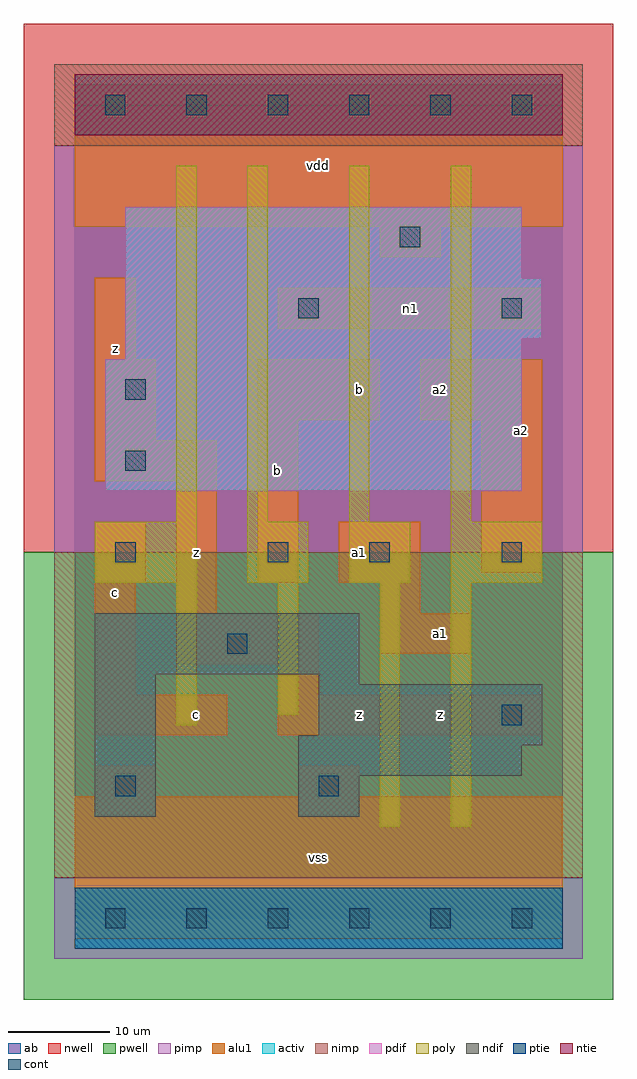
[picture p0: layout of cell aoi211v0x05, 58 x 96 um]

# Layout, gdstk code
import gdstk
lib = gdstk.Library(unit=1e-6, precision=1e-09)
def R(c, l, rs):  # rectangles x0, y0, x1, y1
    for r in rs: c.add(gdstk.rectangle(r[:2], r[2:], *l))
def A(c, l, x, y, w, h, nx, ny, dx, dy):  # array of equal rectangles
    R(c, l, [(x+i*dx, y+j*dy, x+i*dx+w, y+j*dy+h) for i in range(nx) for j in range(ny)])
ndif = (3, 0)
pdif = (4, 0)
ntie = (5, 0)
ptie = (6, 0)
cont = (25, 0)
pwell = (41, 0)
nwell = (42, 0)
activ = (43, 0)
pimp = (44, 0)
nimp = (45, 0)
poly = (46, 0)
alu1 = (49, 0)
ab = (63, 0)

aoi211v0x05 = lib.new_cell('aoi211v0x05')
R(aoi211v0x05, ndif, [(2,10,8,24), (22,10,28,14), (22,14,44,17), (22,17,46,18), (24,18,46,23), (24,23,28,24), (2,24,28,30)])
R(aoi211v0x05, pdif, [(3,42,44,55), (5,55,44,57), (5,57,46,63), (5,63,44,70)])
R(aoi211v0x05, ntie, [(0,77,48,83)])
R(aoi211v0x05, ptie, [(0,-3,48,3)])
A(aoi211v0x05, cont, 3, -1, 2, 2, 6, 2, 8, 80)
R(aoi211v0x05, cont, [(4,12,6,14), (24,12,26,14), (42,19,44,21), (15,26,17,28), (4,35,6,37), (19,35,21,37), (29,35,31,37), (42,35,44,37), (5,44,7,46), (5,51,7,53), (22,59,24,61), (42,59,44,61), (32,66,34,68)])
R(aoi211v0x05, pwell, [(-5,-8,53,36)])
R(aoi211v0x05, nwell, [(-5,36,53,88)])
R(aoi211v0x05, activ, [(0,-3,48,3), (2,10,8,24), (22,10,28,14), (22,14,44,17), (22,17,46,18), (24,18,46,23), (24,23,28,24), (2,24,28,30), (3,42,44,55), (5,55,44,57), (5,57,46,63), (5,63,44,70), (0,77,48,83)])
R(aoi211v0x05, pimp, [(-2,-4,50,4), (-2,36,50,76)])
R(aoi211v0x05, nimp, [(-2,4,50,36), (-2,76,50,84)])
A(aoi211v0x05, poly, 17, 39, 2, 35, 3, 1, 10, 0)
R(aoi211v0x05, poly, [(30,9,32,33), (37,9,39,33), (10,19,12,33), (20,20,22,33), (2,33,12,39), (17,33,23,39), (27,33,33,39), (37,33,46,39), (10,39,12,74)])
R(aoi211v0x05, alu1, [(0,-2,48,12), (2,12,8,15), (22,12,28,15), (2,18,15,22), (20,18,46,22), (2,22,6,33), (20,22,24,25), (10,25,24,30), (30,26,39,30), (10,30,14,43), (30,30,34,33), (2,33,7,39), (18,33,22,49), (26,33,34,39), (40,34,46,49), (2,43,14,47), (2,47,8,55), (18,49,30,55), (34,49,46,55), (2,55,6,63), (20,58,46,62), (30,65,36,68), (0,68,48,82)])
R(aoi211v0x05, ab, [(0,0,48,80)])
aoi211v0x05.add(gdstk.Label('n1', (33,60), layer=49, texttype=0))
aoi211v0x05.add(gdstk.Label('c', (4,32), layer=49, texttype=0))
aoi211v0x05.add(gdstk.Label('z', (4,56), layer=49, texttype=0))
aoi211v0x05.add(gdstk.Label('c', (12,20), layer=49, texttype=0))
aoi211v0x05.add(gdstk.Label('z', (12,36), layer=49, texttype=0))
aoi211v0x05.add(gdstk.Label('b', (20,44), layer=49, texttype=0))
aoi211v0x05.add(gdstk.Label('vss', (24,6), layer=49, texttype=0))
aoi211v0x05.add(gdstk.Label('z', (28,20), layer=49, texttype=0))
aoi211v0x05.add(gdstk.Label('a1', (28,36), layer=49, texttype=0))
aoi211v0x05.add(gdstk.Label('b', (28,52), layer=49, texttype=0))
aoi211v0x05.add(gdstk.Label('vdd', (24,74), layer=49, texttype=0))
aoi211v0x05.add(gdstk.Label('z', (36,20), layer=49, texttype=0))
aoi211v0x05.add(gdstk.Label('a1', (36,28), layer=49, texttype=0))
aoi211v0x05.add(gdstk.Label('a2', (36,52), layer=49, texttype=0))
aoi211v0x05.add(gdstk.Label('a2', (44,48), layer=49, texttype=0))

lib.write_gds('aoi211v0x05.gds')
